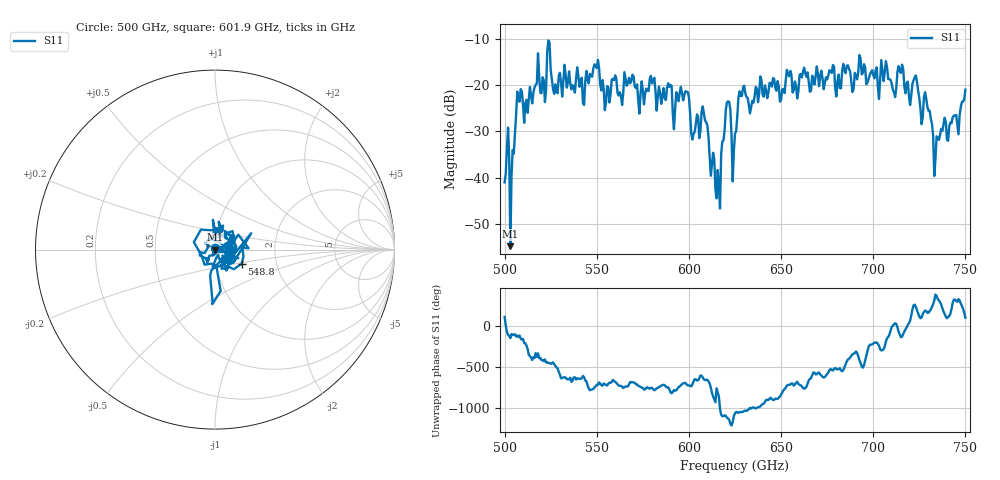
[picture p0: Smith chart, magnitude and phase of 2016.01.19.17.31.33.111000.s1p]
!Created with skrf (http://scikit-rf.org).
# GHz S RI R 50.0
!freq ReS11 ImS11
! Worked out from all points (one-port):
!   401 points, 500 GHz to 750 GHz, reference 50 ohm
!   lowest |S11| = -54.8 dB at 503.1 GHz (marker M1), VSWR 1.00, Z = 49.8 - j0.0847 ohm
!   |S11| at or under -10 dB: start of sweep to end of sweep
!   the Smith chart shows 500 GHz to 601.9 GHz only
!   S11 on the Smith chart (normalised r, x): 500 GHz: 1.00, +0.02; 548.8 GHz: 1.33, -0.22; 601.9 GHz: 1.05, +0.01
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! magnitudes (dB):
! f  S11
! 500 GHz  -41.0
! 503.1 GHz  -54.8
! 504.4 GHz  -34.0
! 508.1 GHz  -23.6
! 521.2 GHz  -19.0
! 524.4 GHz  -10.8
! 527.5 GHz  -19.8
! 531.2 GHz  -22.5
! 548.8 GHz  -15.5
! 562.5 GHz  -21.5
! 580 GHz  -19.6
! 593.8 GHz  -22.3
! 598.8 GHz  -21.4
! 601.9 GHz  -31.7
! 608.8 GHz  -27.7
! 615.6 GHz  -38.4
! 621.2 GHz  -23.5
! 625 GHz  -30.5
! 628.8 GHz  -22.3
! 656.2 GHz  -21.6
! 687.5 GHz  -17.1
! 705.6 GHz  -19.1
! 711.2 GHz  -21.5
! 715 GHz  -17.4
! 718.8 GHz  -19.2
! 728.8 GHz  -22.9
! 734.4 GHz  -31.1
! 750 GHz  -21.0
